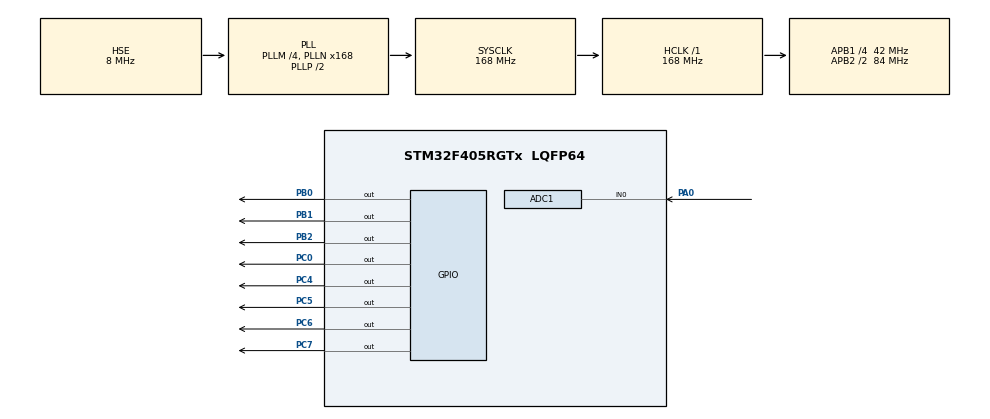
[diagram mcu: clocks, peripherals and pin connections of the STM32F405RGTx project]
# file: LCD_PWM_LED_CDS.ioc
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ADC1.Channel-0\#ChannelRegularConversion=ADC_CHANNEL_0
ADC1.NbrOfConversionFlag=1
ADC1.Rank-0\#ChannelRegularConversion=1
ADC1.SamplingTime-0\#ChannelRegularConversion=ADC_SAMPLETIME_3CYCLES
ADC1.ScanConvMode=ENABLE
ADC1.master=1
Mcu.Family=STM32F4
Mcu.Name=STM32F405RGTx
Mcu.Package=LQFP64
NVIC.PriorityGroup=NVIC_PRIORITYGROUP_4
PA0-WKUP.Signal=ADCx_IN0
PA13.Mode=Serial_Wire
PA13.Signal=SYS_JTMS-SWDIO
PA14.Mode=Serial_Wire
PA14.Signal=SYS_JTCK-SWCLK
PB0.Signal=GPIO_Output
PB1.Signal=GPIO_Output
PB2.Signal=GPIO_Output
PC0.Signal=GPIO_Output
PC4.Signal=GPIO_Output
PC5.Signal=GPIO_Output
PC6.Signal=GPIO_Output
PC7.Signal=GPIO_Output
PH0-OSC_IN.Mode=HSE-External-Oscillator
PH0-OSC_IN.Signal=RCC_OSC_IN
PH1-OSC_OUT.Mode=HSE-External-Oscillator
PH1-OSC_OUT.Signal=RCC_OSC_OUT
ProjectManager.HeapSize=0x200
ProjectManager.StackSize=0x400
ProjectManager.TargetToolchain=EWARM V8.32
RCC.48MHZClocksFreq_Value=84000000
RCC.AHBFreq_Value=168000000
RCC.APB1CLKDivider=RCC_HCLK_DIV4
RCC.APB1Freq_Value=42000000
RCC.APB1TimFreq_Value=84000000
RCC.APB2CLKDivider=RCC_HCLK_DIV2
RCC.APB2Freq_Value=84000000
RCC.APB2TimFreq_Value=168000000
RCC.CortexFreq_Value=168000000
RCC.HCLKFreq_Value=168000000
RCC.HSE_VALUE=8000000
RCC.HSI_VALUE=16000000
RCC.LSE_VALUE=32768
RCC.PLLM=4
RCC.PLLN=168
RCC.PLLSourceVirtual=RCC_PLLSOURCE_HSE
RCC.SYSCLKFreq_VALUE=168000000
RCC.SYSCLKSource=RCC_SYSCLKSOURCE_PLLCLK
RCC.VCOOutputFreq_Value=336000000
SH.ADCx_IN0.0=ADC1_IN0,IN0
board=custom

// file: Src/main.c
/* USER CODE BEGIN Header */
/**
  ******************************************************************************
  * @file           : main.c
  * @brief          : Main program body
  ******************************************************************************
  * @attention
  *
  * <h2><center>&copy; Copyright (c) 2020 STMicroelectronics.
  * All rights reserved.</center></h2>
  *
  * This software component is licensed by ST under BSD 3-Clause license,
  * the "License"; You may not use this file except in compliance with the
  * License. You may obtain a copy of the License at:
  *                        opensource.org/licenses/BSD-3-Clause
  *
  ******************************************************************************
  */
/* USER CODE END Header */

#include "main.h"
#include "adc.h"
#include "gpio.h"

/* USER CODE BEGIN Includes */
#include "lcd.h"
#include "stdio.h"
/* USER CODE END Includes */

/* USER CODE BEGIN PV */
uint16_t adcData = 0;
char str[10];
/* USER CODE END PV */

void SystemClock_Config(void);

int main(void)
{

  /* MCU Configuration--------------------------------------------------------*/

  /* Reset of all peripherals, Initializes the Flash interface and the Systick. */
  HAL_Init();

  /* Configure the system clock */
  SystemClock_Config();

  /* Initialize all configured peripherals */
  MX_GPIO_Init();
  MX_ADC1_Init();
  /* USER CODE BEGIN 2 */
  lcdInit();
  lcdGotoXY(0, 0);
  /* USER CODE END 2 */

  /* Infinite loop */
  /* USER CODE BEGIN WHILE */
  while (1)
  {
    lcdClear();
    lcdGotoXY(0,0);
    lcdPrintData("ADC POLLTEST", 12);
    HAL_ADC_Start(&hadc1);
    HAL_ADC_PollForConversion(&hadc1, 10);
    adcData = HAL_ADC_GetValue(&hadc1);
    sprintf(str, "ADC : %d", adcData);
    if(adcData < 900){
      HAL_GPIO_WritePin(GPIOC, GPIO_PIN_0, GPIO_PIN_SET);
    }
    else{
      HAL_GPIO_WritePin(GPIOC, GPIO_PIN_0, GPIO_PIN_RESET);
    }
    lcdGotoXY(0, 1);
    lcdPrint(str);
    HAL_Delay(500);
    /* USER CODE END WHILE */

  }
}

void SystemClock_Config(void)
{
  RCC_OscInitTypeDef RCC_OscInitStruct = {0};
  RCC_ClkInitTypeDef RCC_ClkInitStruct = {0};

  /** Configure the main internal regulator output voltage
  */
  __HAL_RCC_PWR_CLK_ENABLE();
  __HAL_PWR_VOLTAGESCALING_CONFIG(PWR_REGULATOR_VOLTAGE_SCALE1);
  /** Initializes the CPU, AHB and APB busses clocks
  */
  RCC_OscInitStruct.OscillatorType = RCC_OSCILLATORTYPE_HSE;
  RCC_OscInitStruct.HSEState = RCC_HSE_ON;
  RCC_OscInitStruct.PLL.PLLState = RCC_PLL_ON;
  RCC_OscInitStruct.PLL.PLLSource = RCC_PLLSOURCE_HSE;
  RCC_OscInitStruct.PLL.PLLM = 4;
  RCC_OscInitStruct.PLL.PLLN = 168;
  RCC_OscInitStruct.PLL.PLLP = RCC_PLLP_DIV2;
  RCC_OscInitStruct.PLL.PLLQ = 4;
  if (HAL_RCC_OscConfig(&RCC_OscInitStruct) != HAL_OK)
  {
    Error_Handler();
  }
  /** Initializes the CPU, AHB and APB busses clocks
  */
  RCC_ClkInitStruct.ClockType = RCC_CLOCKTYPE_HCLK|RCC_CLOCKTYPE_SYSCLK
                              |RCC_CLOCKTYPE_PCLK1|RCC_CLOCKTYPE_PCLK2;
  RCC_ClkInitStruct.SYSCLKSource = RCC_SYSCLKSOURCE_PLLCLK;
  RCC_ClkInitStruct.AHBCLKDivider = RCC_SYSCLK_DIV1;
  RCC_ClkInitStruct.APB1CLKDivider = RCC_HCLK_DIV4;
  RCC_ClkInitStruct.APB2CLKDivider = RCC_HCLK_DIV2;

  if (HAL_RCC_ClockConfig(&RCC_ClkInitStruct, FLASH_LATENCY_5) != HAL_OK)
  {
    Error_Handler();
  }
}

void Error_Handler(void)
{
}

/************************ (C) COPYRIGHT STMicroelectronics *****END OF FILE****/
